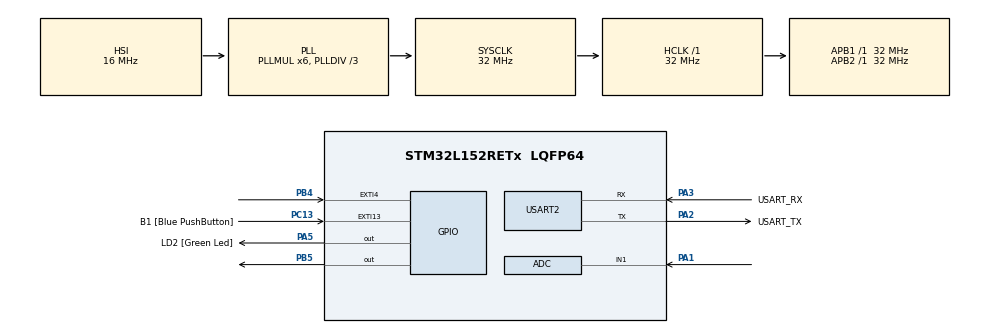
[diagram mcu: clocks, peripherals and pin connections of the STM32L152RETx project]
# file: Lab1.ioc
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ADC.Channel-0\#ChannelRegularConversion=ADC_CHANNEL_1
ADC.NbrOfConversionFlag=1
ADC.Rank-0\#ChannelRegularConversion=1
ADC.SamplingTime-0\#ChannelRegularConversion=ADC_SAMPLETIME_4CYCLES
Mcu.Family=STM32L1
Mcu.Name=STM32L152RETx
Mcu.Package=LQFP64
NVIC.PriorityGroup=NVIC_PRIORITYGROUP_0
PA1.Mode=IN1
PA1.Signal=ADC_IN1
PA13.GPIO_Label=TMS
PA13.Mode=Serial_Wire
PA13.Signal=SYS_JTMS-SWDIO
PA14.GPIO_Label=TCK
PA14.Mode=Serial_Wire
PA14.Signal=SYS_JTCK-SWCLK
PA2.GPIO_Label=USART_TX
PA2.Mode=Asynchronous
PA2.Signal=USART2_TX
PA3.GPIO_Label=USART_RX
PA3.Mode=Asynchronous
PA3.Signal=USART2_RX
PA5.GPIO_Label=LD2 [Green Led]
PA5.Signal=GPIO_Output
PB3.GPIO_Label=SWO
PB3.Signal=SYS_JTDO-TRACESWO
PB4.Signal=GPXTI4
PB5.Signal=GPIO_Output
PC13-WKUP2.GPIO_Label=B1 [Blue PushButton]
PC13-WKUP2.Signal=GPXTI13
PC14-OSC32_IN.Mode=LSE-External-Oscillator
PC14-OSC32_IN.Signal=RCC_OSC32_IN
PC15-OSC32_OUT.Mode=LSE-External-Oscillator
PC15-OSC32_OUT.Signal=RCC_OSC32_OUT
PH0-OSC_IN.Mode=HSE-External-Clock-Source
PH0-OSC_IN.Signal=RCC_OSC_IN
PH1-OSC_OUT.Signal=RCC_OSC_OUT
ProjectManager.HeapSize=0x200
ProjectManager.StackSize=0x400
ProjectManager.TargetToolchain=STM32CubeIDE
RCC.48MHZClocksFreq_Value=48000000
RCC.AHBFreq_Value=32000000
RCC.APB1Freq_Value=32000000
RCC.APB1TimFreq_Value=32000000
RCC.APB2Freq_Value=32000000
RCC.APB2TimFreq_Value=32000000
RCC.HCLKFreq_Value=32000000
RCC.HSE_VALUE=8000000
RCC.HSI_VALUE=16000000
RCC.MSI_VALUE=2097000
RCC.PLLDIV=RCC_PLL_DIV3
RCC.PLLMUL=RCC_PLL_MUL6
RCC.RTCClockSelectionVirtual=RCC_RTCCLKSOURCE_LSE
RCC.SYSCLKFreq_VALUE=32000000
RCC.SYSCLKSource=RCC_SYSCLKSOURCE_PLLCLK
RCC.USBOutput=48000000
RCC.VCOOutputFreq_Value=96000000
USART2.VirtualMode=VM_ASYNC
board=NUCLEO-L152RE

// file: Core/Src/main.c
/* USER CODE BEGIN Header */
/**
  ******************************************************************************
  * @file           : main.c
  * @brief          : Main program body
  ******************************************************************************
  * @attention
  *
  * Copyright (c) 2026 STMicroelectronics.
  * All rights reserved.
  *
  * This software is licensed under terms that can be found in the LICENSE file
  * in the root directory of this software component.
  * If no LICENSE file comes with this software, it is provided AS-IS.
  *
  ******************************************************************************
  */
/* USER CODE END Header */
#include "main.h"

/* USER CODE BEGIN Includes */
extern UART_HandleTypeDef huart2;

int _write(int file, char *ptr, int len) {
	int i=0;
	for(i=0; i<len; i++)
	HAL_UART_Transmit(&huart2,(uint8_t *)(ptr++),1,1000);
	return len;
}
void waiting(unsigned int delay) {
	unsigned int i;
	for (i=0; i<delay; i++);
}
/* USER CODE END Includes */

ADC_HandleTypeDef hadc;

UART_HandleTypeDef huart2;

/* USER CODE BEGIN PV */
unsigned char state = 0;
unsigned char medicion_init = 0;
unsigned char medicion_end = 1;
uint32_t value_adc = 0;
int angle = 0;
/* USER CODE END PV */

void SystemClock_Config(void);
static void MX_GPIO_Init(void);
static void MX_ADC_Init(void);
static void MX_USART2_UART_Init(void);

/* USER CODE BEGIN 0 */
void EXTI15_10_IRQHandler(void){
	if(EXTI->PR & (1 << 13)){
		EXTI->PR = (0x01 << 13);
		state = state + 1;
		if (state >1) state = 0;
		if (medicion_end == 0) printf("Mode will change after finishing the measurement \r\n");
	}
}

void EXTI4_IRQHandler(void){
	// no need to verify EXTI PR as it only triggers this function with EXTI4
	EXTI->PR = (0x01 << 4);
	medicion_init = 1;
	medicion_end = 0;

}
/* USER CODE END 0 */

int main(void)
{

  /* USER CODE BEGIN 1 */
	unsigned char prev_state = 0;
  /* USER CODE END 1 */

  /* MCU Configuration--------------------------------------------------------*/

  /* Reset of all peripherals, Initializes the Flash interface and the Systick. */
  HAL_Init();

  /* Configure the system clock */
  SystemClock_Config();

  /* Initialize all configured peripherals */
  MX_GPIO_Init();
  MX_ADC_Init();
  MX_USART2_UART_Init();
  /* USER CODE BEGIN 2 */
  /*INPUTS: */
  /*PB4 configuration EXTI mode, moder (00)*/
  GPIOB ->MODER &= ~(1 << (4*2 + 1));
  GPIOB ->MODER &= ~(1 << (4*2));
  GPIOB ->PUPDR &= ~(3 << 8); // cleaning any previous configuration
  GPIOB ->PUPDR |= (2 << 8); // Setting button on pull down (10)

  SYSCFG ->EXTICR[1] &= ~(0xF << 0);	//Cleaning any new previous at SYSCFG
  SYSCFG->EXTICR[1] |= (0x01 << 0);		// Enabling EXTI4 for PB4 with 0001
  EXTI ->FTSR &= ~(0x01 << 4);			// Disabling falling edge
  EXTI ->RTSR |= (0x01 << 4);			// Enabling rising edge
  EXTI ->IMR |= (0x01 << 4); 			// Enable EXTI 4
  NVIC ->ISER[0] |= (1 << 10); 	// Enable EXTI4 NVIC

  /*PC13 configuration EXTI mode, moder(00)*/
  GPIOC ->MODER &= ~(1 << (13*2 + 1));
  GPIOC ->MODER &= ~(1 << (13*2));

  SYSCFG ->EXTICR[3] &= ~(0xF << 4);	//Cleaning any new previous at SYSCFG
  SYSCFG->EXTICR[3] |= (0x02 << 4);		// Enabling EXTI13 for PC13 with 0010
  EXTI ->FTSR |= (0x01 << 13);			// Enable falling edge
  EXTI ->RTSR &= ~(0x01 << 13);			// Disable rising edge
  EXTI ->IMR |= (0x01 << 13); 			// Enable EXTI 13
  NVIC ->ISER[1] |= (1 << (40-32)); 	// Enable EXTI15_10 NVIC

  //PA1 as an input analog mode, (11)
  GPIOA->MODER &= ~(3 << (1*2));
  GPIOA->MODER |= (3 << (1*2));
  ADC1->CR1 = 0x00000000;//Res (00) 12 bits, scan mode 0 disbabled, EOCIE 0
  ADC1->SQR1 = 0x00000000; // 1 channel enabled
  ADC1->SQR3 = 1;
  ADC1->CR2 |= (1 << 0);

  /*OUTPUTS: */
  /*PA5 configuration in output mode, moder(01)  */
  GPIOA ->MODER &= ~(1 << (5*2 + 1));
  GPIOA ->MODER |= (1 << (5*2));

  /*PB5 configuration of the external led, moder(01)*/
  GPIOB ->MODER &= ~(1 << (5*2 + 1));
  GPIOB ->MODER |= (1 << (5*2));

  /* USER CODE END 2 */

  /* Infinite loop */
  /* USER CODE BEGIN WHILE */
  while (1)
  {
	  if ((state != prev_state) && (medicion_end == 1)){
		  prev_state = state;
		  switch(state){
		  case 0: //Manual Mode led off
			  printf("Manual mode \r\n");
			  GPIOA->BSRR = (1<<5)<<16;
			  break;

		  default: //Automatic Mode led onn
			  printf("Automatic mode \r\n");
			  GPIOA->BSRR = (1<<5);
		  }
	  }
	  if (state == 0){
		  /*Reading ADC*/
		  //reads the potenciometer (ADC)
		  ADC1->CR2 |= 0x40000000;
		  //Wait for the conversion to finish
		  while((ADC1->SR & 0x02)==0);
		  //read the result (Data Register)
		  value_adc = ADC1->DR;
		  //Compute the angle (0 to 180)
		  angle = ((value_adc * 180)/4095)-90;
		  if(medicion_init == 1){
			  medicion_init = 0;
			  //Print the value
			  printf("ADC raw: %lu\r\n", value_adc);
			  printf("Manual mode -> Angle of the servomotor: %d \r\n", angle);
			  //Pulse sent to the servo
			  GPIOB->BSRR = (1<<5);
			  waiting(4000000); //0.5s this must be changed after by a timer
			  GPIOB->BSRR = (1<<5)<<16;
			  medicion_end = 1;
		  }
	  }else{
		  if(medicion_init == 1){
			  medicion_init = 0;
			  for(int i = 0; i<5; i++){
				  angle = -90 + i*45;
				  printf("Automatic mode -> Angle of the servomotor: %d\r\n", angle);
				  for(int j = 0; j<2;j++){
				  	  GPIOB->BSRR = (1<<5);
				  	  waiting(4000000);//0.5s this must be changed after by a timer
				  	  GPIOB->BSRR = (1<<5)<<16;
				  	  waiting(4000000);//0.5s this must be changed after by a timer
				  }
			  }
			  printf("Returning to initial position -> Angle of the servomotor: 0 \r\n");
			  medicion_end = 1;
		  }
	  }
    /* USER CODE END WHILE */

  }
}

void SystemClock_Config(void)
{
  RCC_OscInitTypeDef RCC_OscInitStruct = {0};
  RCC_ClkInitTypeDef RCC_ClkInitStruct = {0};

  /** Configure the main internal regulator output voltage
  */
  __HAL_PWR_VOLTAGESCALING_CONFIG(PWR_REGULATOR_VOLTAGE_SCALE1);

  /** Initializes the RCC Oscillators according to the specified parameters
  * in the RCC_OscInitTypeDef structure.
  */
  RCC_OscInitStruct.OscillatorType = RCC_OSCILLATORTYPE_HSI;
  RCC_OscInitStruct.HSIState = RCC_HSI_ON;
  RCC_OscInitStruct.HSICalibrationValue = RCC_HSICALIBRATION_DEFAULT;
  RCC_OscInitStruct.PLL.PLLState = RCC_PLL_ON;
  RCC_OscInitStruct.PLL.PLLSource = RCC_PLLSOURCE_HSI;
  RCC_OscInitStruct.PLL.PLLMUL = RCC_PLL_MUL6;
  RCC_OscInitStruct.PLL.PLLDIV = RCC_PLL_DIV3;
  if (HAL_RCC_OscConfig(&RCC_OscInitStruct) != HAL_OK)
  {
    Error_Handler();
  }

  /** Initializes the CPU, AHB and APB buses clocks
  */
  RCC_ClkInitStruct.ClockType = RCC_CLOCKTYPE_HCLK|RCC_CLOCKTYPE_SYSCLK
                              |RCC_CLOCKTYPE_PCLK1|RCC_CLOCKTYPE_PCLK2;
  RCC_ClkInitStruct.SYSCLKSource = RCC_SYSCLKSOURCE_PLLCLK;
  RCC_ClkInitStruct.AHBCLKDivider = RCC_SYSCLK_DIV1;
  RCC_ClkInitStruct.APB1CLKDivider = RCC_HCLK_DIV1;
  RCC_ClkInitStruct.APB2CLKDivider = RCC_HCLK_DIV1;

  if (HAL_RCC_ClockConfig(&RCC_ClkInitStruct, FLASH_LATENCY_1) != HAL_OK)
  {
    Error_Handler();
  }
}

static void MX_ADC_Init(void)
{

  ADC_ChannelConfTypeDef sConfig = {0};

  /** Configure the global features of the ADC (Clock, Resolution, Data Alignment and number of conversion)
  */
  hadc.Instance = ADC1;
  hadc.Init.ClockPrescaler = ADC_CLOCK_ASYNC_DIV1;
  hadc.Init.Resolution = ADC_RESOLUTION_12B;
  hadc.Init.DataAlign = ADC_DATAALIGN_RIGHT;
  hadc.Init.ScanConvMode = ADC_SCAN_DISABLE;
  hadc.Init.EOCSelection = ADC_EOC_SEQ_CONV;
  hadc.Init.LowPowerAutoWait = ADC_AUTOWAIT_DISABLE;
  hadc.Init.LowPowerAutoPowerOff = ADC_AUTOPOWEROFF_DISABLE;
  hadc.Init.ChannelsBank = ADC_CHANNELS_BANK_A;
  hadc.Init.ContinuousConvMode = DISABLE;
  hadc.Init.NbrOfConversion = 1;
  hadc.Init.DiscontinuousConvMode = DISABLE;
  hadc.Init.ExternalTrigConv = ADC_SOFTWARE_START;
  hadc.Init.ExternalTrigConvEdge = ADC_EXTERNALTRIGCONVEDGE_NONE;
  hadc.Init.DMAContinuousRequests = DISABLE;
  if (HAL_ADC_Init(&hadc) != HAL_OK)
  {
    Error_Handler();
  }

  /** Configure for the selected ADC regular channel its corresponding rank in the sequencer and its sample time.
  */
  sConfig.Channel = ADC_CHANNEL_1;
  sConfig.Rank = ADC_REGULAR_RANK_1;
  sConfig.SamplingTime = ADC_SAMPLETIME_4CYCLES;
  if (HAL_ADC_ConfigChannel(&hadc, &sConfig) != HAL_OK)
  {
    Error_Handler();
  }

}

static void MX_USART2_UART_Init(void)
{

  huart2.Instance = USART2;
  huart2.Init.BaudRate = 115200;
  huart2.Init.WordLength = UART_WORDLENGTH_8B;
  huart2.Init.StopBits = UART_STOPBITS_1;
  huart2.Init.Parity = UART_PARITY_NONE;
  huart2.Init.Mode = UART_MODE_TX_RX;
  huart2.Init.HwFlowCtl = UART_HWCONTROL_NONE;
  huart2.Init.OverSampling = UART_OVERSAMPLING_16;
  if (HAL_UART_Init(&huart2) != HAL_OK)
  {
    Error_Handler();
  }

}

static void MX_GPIO_Init(void)
{
  GPIO_InitTypeDef GPIO_InitStruct = {0};

  /* GPIO Ports Clock Enable */
  __HAL_RCC_GPIOC_CLK_ENABLE();
  __HAL_RCC_GPIOH_CLK_ENABLE();
  __HAL_RCC_GPIOA_CLK_ENABLE();
  __HAL_RCC_GPIOB_CLK_ENABLE();

  /*Configure GPIO pin Output Level */
  HAL_GPIO_WritePin(LD2_GPIO_Port, LD2_Pin, GPIO_PIN_RESET);

  /*Configure GPIO pin Output Level */
  HAL_GPIO_WritePin(GPIOB, GPIO_PIN_5, GPIO_PIN_RESET);

  /*Configure GPIO pin : B1_Pin */
  GPIO_InitStruct.Pin = B1_Pin;
  GPIO_InitStruct.Mode = GPIO_MODE_IT_RISING;
  GPIO_InitStruct.Pull = GPIO_NOPULL;
  HAL_GPIO_Init(B1_GPIO_Port, &GPIO_InitStruct);

  /*Configure GPIO pin : LD2_Pin */
  GPIO_InitStruct.Pin = LD2_Pin;
  GPIO_InitStruct.Mode = GPIO_MODE_OUTPUT_PP;
  GPIO_InitStruct.Pull = GPIO_NOPULL;
  GPIO_InitStruct.Speed = GPIO_SPEED_FREQ_LOW;
  HAL_GPIO_Init(LD2_GPIO_Port, &GPIO_InitStruct);

  /*Configure GPIO pin : PB4 */
  GPIO_InitStruct.Pin = GPIO_PIN_4;
  GPIO_InitStruct.Mode = GPIO_MODE_IT_RISING;
  GPIO_InitStruct.Pull = GPIO_NOPULL;
  HAL_GPIO_Init(GPIOB, &GPIO_InitStruct);

  /*Configure GPIO pin : PB5 */
  GPIO_InitStruct.Pin = GPIO_PIN_5;
  GPIO_InitStruct.Mode = GPIO_MODE_OUTPUT_PP;
  GPIO_InitStruct.Pull = GPIO_NOPULL;
  GPIO_InitStruct.Speed = GPIO_SPEED_FREQ_LOW;
  HAL_GPIO_Init(GPIOB, &GPIO_InitStruct);

}

void Error_Handler(void)
{
  __disable_irq();
  while (1)
  {
  }
}
